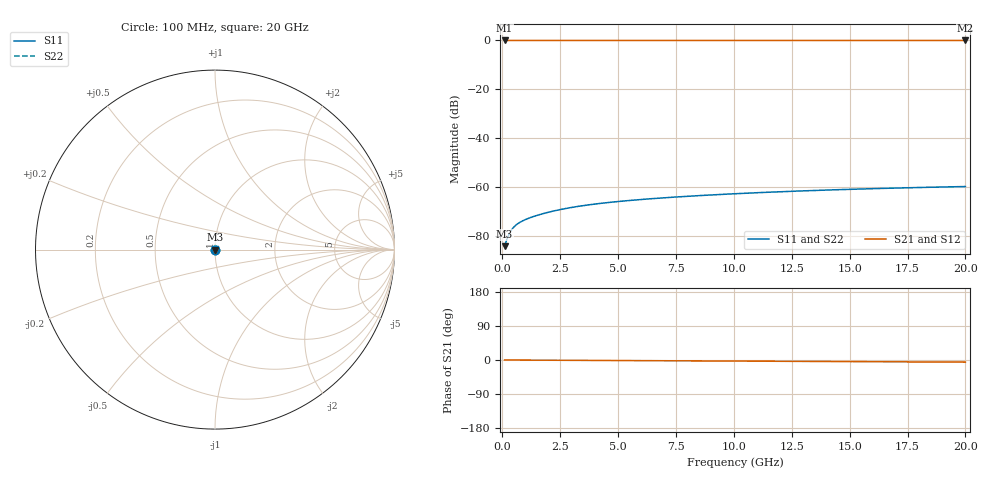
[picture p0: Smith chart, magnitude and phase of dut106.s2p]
! Touchstone file exported from HFSS 2026.1.0
!  File:  C:/ffzhzh/LocalFiles/Ansys_Project_Files/temp_train_TSV_106_1782989588_6248.aedt
!  Generated:  06:54:22 PM Jul  2, 2026
!  Design:  TSV
!  Project:  temp_train_TSV_106_1782989588_6248
! Variables:
!  h_bsmrdl = 2um
!  h_ox = 20um
!  h_rdl = 5um
!  h_sub = 50.19um
!  h_tmrdl = 5um
!  h_tsv = 50.19um
!  h_via = 3um
!  l_bsmrdl = 300um
!  l_sub = 429.82um
!  l_tmrdl = 200um
!  m_sub = 200um
!  pitch = 58.92um
!  r_tsv = 14.91um
!  s_tmrdl = 10um
!  w_bsmrdl = 18um
!  w_sub = 500um
!  w_tmrdl = 12um
!  x_tsv_center1 = 206um
!  x_tsv_center2 = 524um
!  x_tsv_center3 = 736um
!  x_tsv_center4 = 1054um
!  x_tsv_center5 = 1266um
!  x_tsv_center6 = 1584um
# GHz S MA R 50.000000
! Terminal data exported
! Port[1] = TSV1_1_T1
! Port[2] = TSV1_1_T2
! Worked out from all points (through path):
!   200 points, 100 MHz to 20 GHz, reference 50 ohm
!   highest |S21| = 0.00 dB at 100 MHz (marker M1); lowest = 0.0 dB at 20 GHz (marker M2)
!   lowest |S11| = -84.3 dB at 100 MHz (marker M3), VSWR 1.00, Z = 50 + j0.00303 ohm
!   |S11| at or under -10 dB: start of sweep to end of sweep
!   |S22| runs from -84.3 to -59.9 dB; largest |S21 - S12| = 2.3e-15
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0.1  6.068e-05 29.9  0.9999 -0.0  0.9999 -0.0  6.068e-05 29.9
! Gamma 0 0 0 0
! Port Impedance 50 0 50 0
0.2  8.46e-05 42.5  0.9999 -0.1  0.9999 -0.1  8.46e-05 42.5
0.3  0.0001093 46.2  0.9999 -0.1  0.9999 -0.1  0.0001093 46.2
0.4  0.0001312 46.9  0.9999 -0.1  0.9999 -0.1  0.0001312 46.9
0.5  0.0001499 46.7  0.9999 -0.1  0.9999 -0.1  0.0001499 46.7
0.6  0.0001658 46.2  0.9999 -0.2  0.9999 -0.2  0.0001657 46.2
0.7  0.0001795 45.8  0.9999 -0.2  0.9999 -0.2  0.0001795 45.8
0.8  0.0001917 45.5  0.9999 -0.2  0.9999 -0.2  0.0001917 45.5
1.1  0.000223 45.5  0.9998 -0.3  0.9998 -0.3  0.000223 45.5
1.6  0.0002681 46.4  0.9998 -0.5  0.9998 -0.5  0.0002681 46.4
2.2  0.000318 47.2  0.9998 -0.6  0.9998 -0.6  0.000318 47.2
2.8  0.0003638 47.5  0.9997 -0.8  0.9997 -0.8  0.0003638 47.5
3.5  0.000412 47.4  0.9997 -1.0  0.9997 -1.0  0.000412 47.4
4.2  0.000455 47.2  0.9997 -1.2  0.9997 -1.2  0.000455 47.2
4.9  0.000494 47.0  0.9997 -1.4  0.9997 -1.4  0.000494 47.0
5.8  0.0005398 46.8  0.9996 -1.6  0.9996 -1.6  0.0005398 46.8
6.8  0.0005866 46.6  0.9996 -1.9  0.9996 -1.9  0.0005866 46.6
8.4  0.0006556 46.4  0.9996 -2.4  0.9996 -2.4  0.0006556 46.4
10.1  0.000723 46.1  0.9995 -2.9  0.9995 -2.9  0.000723 46.1
13.4  0.0008388 45.1  0.9995 -3.8  0.9995 -3.8  0.0008388 45.1
16.7  0.000935 44.0  0.9994 -4.7  0.9994 -4.7  0.000935 44.0
20  0.001013 42.8  0.9993 -5.6  0.9993 -5.6  0.001013 42.8
